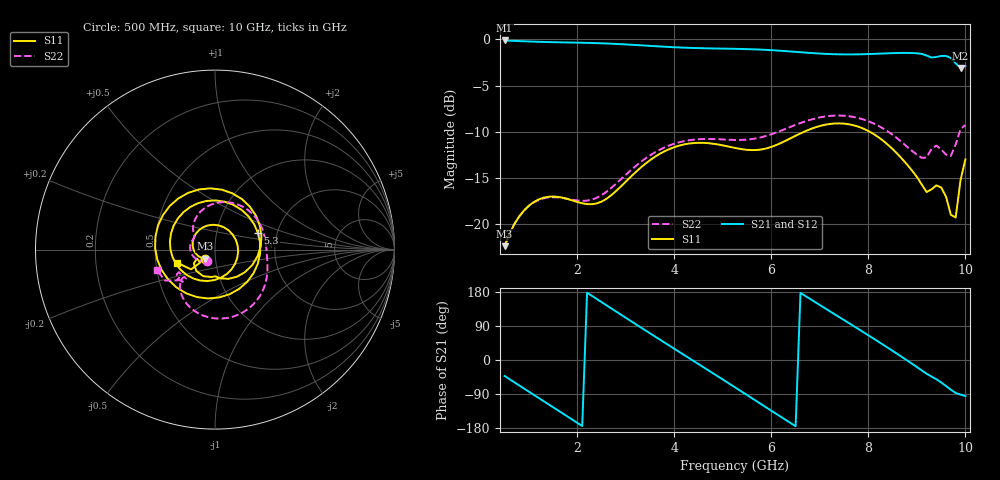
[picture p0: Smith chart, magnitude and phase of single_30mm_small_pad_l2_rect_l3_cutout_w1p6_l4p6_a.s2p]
! Touchstone file exported from HFSS 3D Layout Design 2026.1.0
!  File:  D:/Work/ADS/HFSS_VERDICT/hfss_sma_connector_cpw.aedt
!  Generated:  05:07:42 PM Aug  5, 2026
!  Design:  SINGLE_END_SMA_CPW_30MM
!  Project:  hfss_sma_connector_cpw
! Variables:
!  $sma_Base_D = 6.25mm
!  $sma_Base_L = 8mm
!  $sma_Feet_L = 4mm
!  $sma_Feet_W = 1mm
!  $sma_Front_L = 1.5mm
!  $sma_Front_W = 6.5mm
!  $sma_Hole_D = 1.25mm
!  $sma_PTFE_D = 4.2mm
!  $sma_Pin_D = 0.95mm
!  $sma_Pin_P = 1.7mm
# GHz S MA R 50.000000
! Terminal data exported
! Port[1] = Port1
! Port[2] = S1_1_Pin_T1
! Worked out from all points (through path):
!   96 points, 500 MHz to 10 GHz, reference 50 ohm
!   highest |S21| = -0.11 dB at 500 MHz (marker M1); lowest = -3.1 dB at 9.9 GHz (marker M2)
!   group delay of S21, straight-line fit = 227 ps
!   lowest |S11| = -22.4 dB at 500 MHz (marker M3), VSWR 1.16, Z = 44.4 - j4.43 ohm
!   |S11| at or under -10 dB: start of sweep to 6.677 GHz; 8.026 GHz to end of sweep
!   |S22| runs from -22.3 to -8.2 dB; largest |S21 - S12| = 1.6e-14
!   S11 on the Smith chart (normalised r, x): 500 MHz: 0.89, -0.09; 5.3 GHz: 1.59, +0.31; 10 GHz: 0.64, -0.10
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0.5  0.07585 -139.1  0.987 -42.1  0.987 -42.1  0.07636 -127.0
0.9  0.1184 -178.8  0.9769 -75.3  0.9769 -75.3  0.1182 -154.6
1.2  0.1358 150.6  0.9707 -100.0  0.9707 -100.0  0.1349 -173.2
1.7  0.1388 94.5  0.9636 -141.2  0.9636 -141.2  0.1383 162.2
2.1  0.1295 41.2  0.9591 -174.2  0.9591 -174.2  0.1335 150.8
2.5  0.1323 -19.8  0.9525 152.7  0.9525 152.7  0.1433 144.6
3  0.1698 -91.1  0.9393 111.3  0.9393 111.3  0.185 130.4
3.7  0.24 -169.8  0.9159 53.9  0.9159 53.9  0.2526 94.1
4.1  0.2659 150.2  0.9046 21.4  0.9046 21.4  0.2771 70.3
4.5  0.2753 110.2  0.897 -11.0  0.897 -11.0  0.2879 47.0
5.3  0.2568 20.8  0.8886 -76.2  0.8886 -76.2  0.2853 8.1
5.7  0.2518 -31.3  0.8822 -109.1  0.8822 -109.1  0.2915 -6.7
6.2  0.2749 -98.1  0.8676 -150.3  0.8676 -150.3  0.3204 -24.9
6.9  0.3335 178.8  0.8413 153.0  0.8413 153.0  0.3728 -55.5
7.7  0.3423 94.3  0.8296 89.2  0.8296 89.2  0.3798 -94.5
8.1  0.3083 51.0  0.8348 57.0  0.8348 57.0  0.3512 -113.0
8.5  0.2546 3.6  0.8426 24.1  0.8426 24.1  0.3043 -129.0
9  0.1799 -64.8  0.8411 -18.6  0.8411 -18.6  0.2376 -138.9
9.6  0.1409 -146.7  0.8139 -68.6  0.8139 -68.6  0.2376 -148.0
9.8  0.1085 -138.7  0.7418 -87.0  0.7418 -87.0  0.2702 -140.5
9.9  0.173 -140.4  0.7006 -91.2  0.7006 -91.2  0.3268 -148.1
10  0.2238 -161.2  0.7179 -95.2  0.7179 -95.2  0.3435 -160.4
